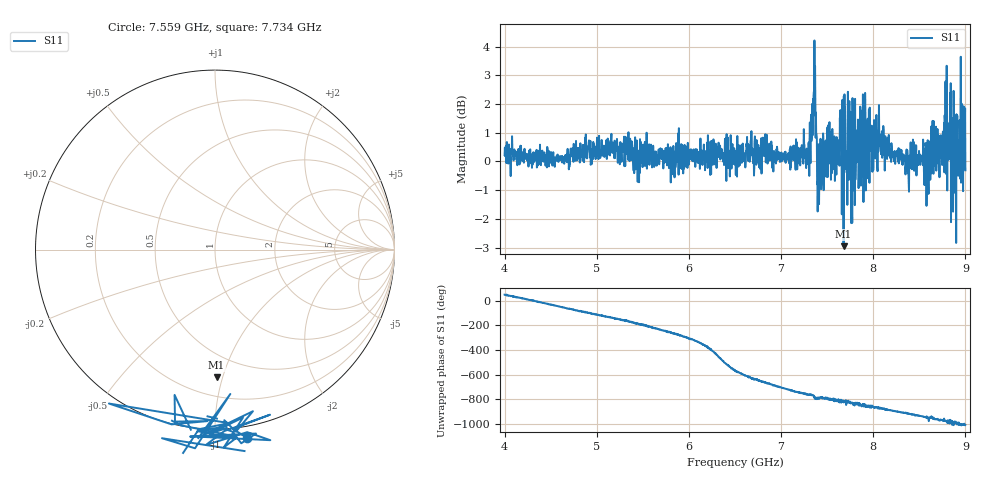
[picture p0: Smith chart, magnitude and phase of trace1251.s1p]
! Created with skrf 1.8.0 (http://scikit-rf.org).
# Hz S RI R 50.0
!freq ReS11 ImS11
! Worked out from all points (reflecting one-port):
!   1601 points, 4 GHz to 9 GHz, reference 50 ohm
!   lowest |S11| = -3.0 dB at 7.678 GHz (marker M1), VSWR 5.94, Z = 16.6 - j47.8 ohm
!   phase of S11 starts at 48 deg and turns -1053 deg over the sweep
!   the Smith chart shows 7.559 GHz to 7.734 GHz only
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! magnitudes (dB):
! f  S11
! 4 GHz  0.2
! 4.625 GHz  0.0
! 5.25 GHz  -0.1
! 5.875 GHz  0.4
! 6.5 GHz  0.4
! 6.653 GHz  0.4
! 7.125 GHz  0.2
! 7.294 GHz  -0.1
! 7.359 GHz  2.2
! 7.416 GHz  -0.1
! 7.5 GHz  0.1
! 7.609 GHz  0.1
! 7.65 GHz  1.1
! 7.678 GHz  -3.0
! 7.75 GHz  -0.6
! 7.769 GHz  -0.6
! 7.8 GHz  -1.5
! 7.875 GHz  0.2
! 7.962 GHz  1.9
! 8.375 GHz  -0.2
! 8.522 GHz  0.2
! 8.603 GHz  0.4
! 8.656 GHz  1.4
! 8.725 GHz  0.7
! 8.816 GHz  0.7
! 8.875 GHz  1.2
! 8.972 GHz  0.5
! 9 GHz  -0.3
